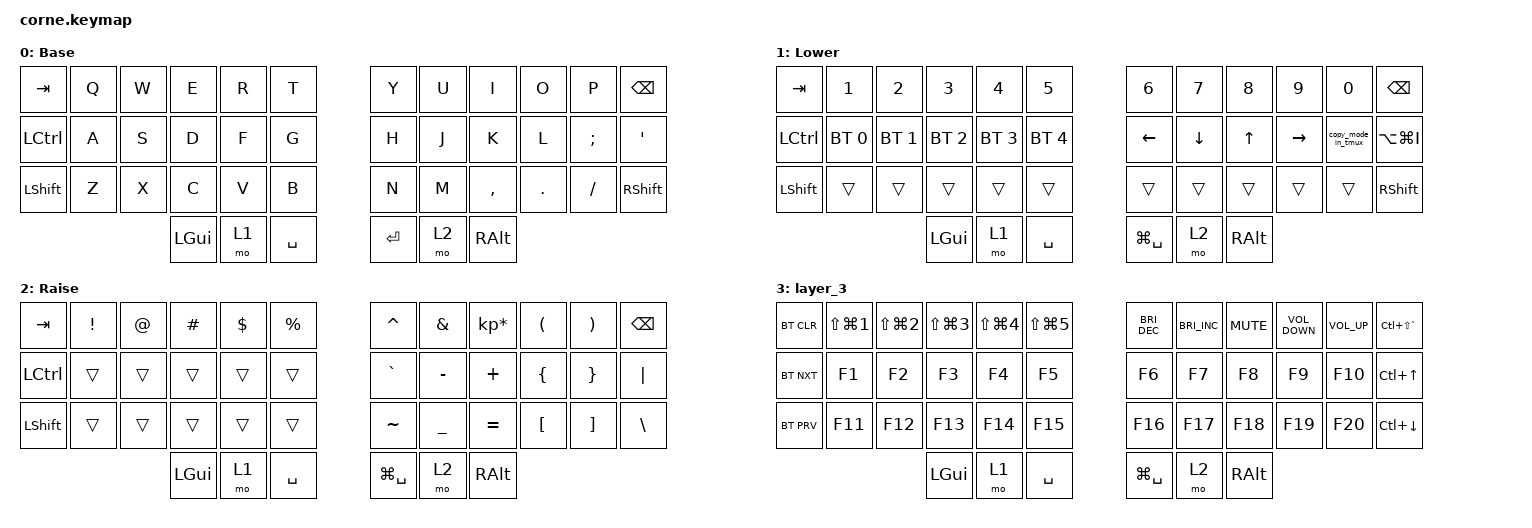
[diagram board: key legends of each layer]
/*
 * Copyright (c) 2020 The ZMK Contributors
 *
 * SPDX-License-Identifier: MIT
 */

#include <behaviors.dtsi>
#include <dt-bindings/zmk/bt.h>
#include <dt-bindings/zmk/keys.h>

/ {
    macros {
        copy_mode_in_tmux: copy_mode_in_tmux {
            compatible = "zmk,behavior-macro";
            label = "COPY_MODE_IN_TMUX";
            #binding-cells = <0>;
            bindings = <&kp LC(B) &kp LEFT_BRACKET>;
        };
    };

    keymap {
        compatible = "zmk,keymap";

        default_layer {
            // -----------------------------------------------------------------------------------------
            // |  TAB |  Q  |  W  |  E  |  R  |  T  |   |  Y  |  U   |  I  |  O  |  P  | BKSP |
            // | CTRL |  A  |  S  |  D  |  F  |  G  |   |  H  |  J   |  K  |  L  |  ;  |  '   |
            // | SHFT |  Z  |  X  |  C  |  V  |  B  |   |  N  |  M   |  ,  |  .  |  /  | ESC  |
            //                    | GUI | LWR | SPC |   | ENT | RSE  | ALT |

            label = "Base";
            bindings = <
&kp TAB    &kp Q  &kp W  &kp E     &kp R  &kp T        &kp Y    &kp U  &kp I      &kp O    &kp P     &kp BSPC
&kp LCTRL  &kp A  &kp S  &kp D     &kp F  &kp G        &kp H    &kp J  &kp K      &kp L    &kp SEMI  &kp SQT
&kp LSHFT  &kp Z  &kp X  &kp C     &kp V  &kp B        &kp N    &kp M  &kp COMMA  &kp DOT  &kp FSLH  &kp RIGHT_SHIFT
                         &kp LGUI  &mo 1  &kp SPACE    &kp RET  &mo 2  &kp RALT
            >;
        };

        lower_layer {
            // -----------------------------------------------------------------------------------------
            // |  TAB |  1  |  2  |  3  |  4  |  5  |   |  6  |  7  |  8  |  9  |  0  | BKSP |
            // | BTCLR| BT1 | BT2 | BT3 | BT4 | BT5 |   | LFT | DWN |  UP | RGT |     |      |
            // | SHFT |     |     |     |     |     |   |     |     |     |     |     |      |
            //                    | GUI |     | SPC |   | ENT |     | ALT |

            label = "Lower";
            bindings = <
&kp TAB           &kp N1        &kp N2        &kp N3        &kp N4        &kp N5          &kp N6         &kp N7    &kp N8    &kp N9     &kp N0              &kp BSPC
&kp LEFT_CONTROL  &bt BT_SEL 0  &bt BT_SEL 1  &bt BT_SEL 2  &bt BT_SEL 3  &bt BT_SEL 4    &kp LEFT       &kp DOWN  &kp UP    &kp RIGHT  &copy_mode_in_tmux  &kp LA(LG(I))
&kp LSHFT         &trans        &trans        &trans        &trans        &trans          &trans         &trans    &trans    &trans     &trans              &kp RIGHT_SHIFT
                                              &kp LGUI      &mo 1         &kp SPACE       &kp LG(SPACE)  &mo 2     &kp RALT
            >;
        };

        raise_layer {
            // -----------------------------------------------------------------------------------------
            // |  TAB |  !  |  @  |  #  |  $  |  %  |   |  ^  |  &  |  *  |  (  |  )  | BKSP |
            // | CTRL |     |     |     |     |     |   |  -  |  =  |  [  |  ]  |  \  |  `   |
            // | SHFT |     |     |     |     |     |   |  _  |  +  |  {  |  }  | "|" |  ~   |
            //                    | GUI |     | SPC |   | ENT |     | ALT |

            label = "Raise";
            bindings = <
&kp TAB    &kp EXCL  &kp AT  &kp HASH  &kp DLLR  &kp PRCNT    &kp CARET      &kp AMPS        &kp KP_MULTIPLY  &kp LPAR          &kp RPAR           &kp BSPC
&kp LCTRL  &trans    &trans  &trans    &trans    &trans       &kp GRAVE      &kp MINUS       &kp PLUS         &kp LEFT_BRACE    &kp RIGHT_BRACE    &kp PIPE
&kp LSHFT  &trans    &trans  &trans    &trans    &trans       &kp TILDE      &kp UNDERSCORE  &kp EQUAL        &kp LEFT_BRACKET  &kp RIGHT_BRACKET  &kp BACKSLASH
                             &kp LGUI  &mo 1     &kp SPACE    &kp LG(SPACE)  &mo 2           &kp RALT
            >;
        };

        layer_3 {
            bindings = <
&bt BT_CLR  &kp LS(LG(NUMBER_1))  &kp LS(LG(NUMBER_2))  &kp LS(LG(NUMBER_3))  &kp LS(LG(NUMBER_4))  &kp LS(LG(N5))    &kp C_BRI_DEC  &kp C_BRI_INC  &kp K_MUTE  &kp C_VOLUME_DOWN  &kp C_VOLUME_UP  &kp LC(LS(GRAVE))
&bt BT_NXT  &kp F1                &kp F2                &kp F3                &kp F4                &kp F5            &kp F6         &kp F7         &kp F8      &kp F9             &kp F10          &kp LC(UP_ARROW)
&bt BT_PRV  &kp F11               &kp F12               &kp F13               &kp F14               &kp F15           &kp F16        &kp F17        &kp F18     &kp F19            &kp F20          &kp LC(DOWN_ARROW)
                                                        &kp LGUI              &mo 1                 &kp SPACE         &kp LG(SPACE)  &mo 2          &kp RALT
            >;
        };
    };

    conditional_layers {
        compatible = "zmk,conditional-layers";

        changeToLayer3 {
            if-layers = <1 2>;
            then-layer = <3>;
        };
    };
};
